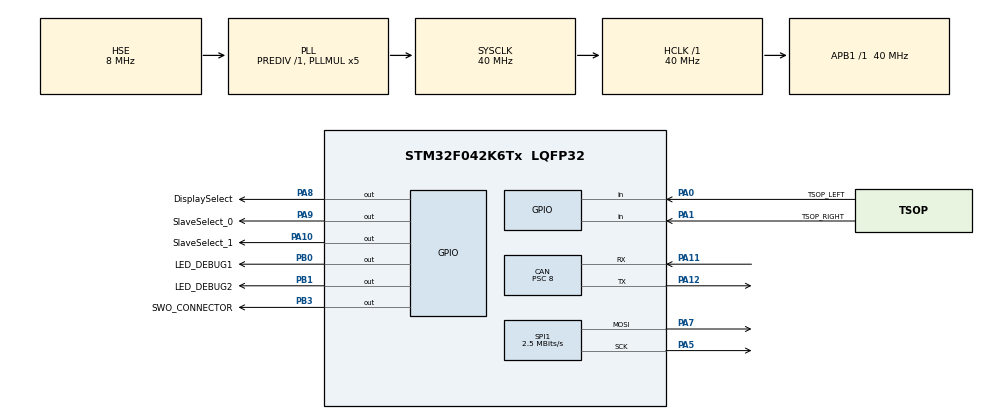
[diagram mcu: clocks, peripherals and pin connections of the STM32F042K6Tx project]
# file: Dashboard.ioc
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CAN.BS1=CAN_BS1_14TQ
CAN.BS2=CAN_BS2_5TQ
CAN.CalculateTimeBit=4000
CAN.CalculateTimeQuantum=200.0
CAN.Mode=CAN_MODE_NORMAL
CAN.Prescaler=8
CAN.SJW=CAN_SJW_3TQ
Mcu.Family=STM32F0
Mcu.Name=STM32F042K6Tx
Mcu.Package=LQFP32
NVIC.CEC_CAN_IRQn=true\:0\:0\:false\:false\:true\:true
PA0.GPIO_Label=TSOP_LEFT
PA0.GPIO_Mode=GPIO_MODE_INPUT
PA0.GPIO_PuPd=GPIO_PULLDOWN
PA0.Signal=GPIO_Input
PA1.GPIO_Label=TSOP_RIGHT
PA1.GPIO_Mode=GPIO_MODE_INPUT
PA1.GPIO_PuPd=GPIO_PULLDOWN
PA1.Signal=GPIO_Input
PA10.GPIO_FMA10=__NULL
PA10.GPIO_Label=SlaveSelect_1
PA10.GPIO_ModeDefaultOutputPP=GPIO_MODE_OUTPUT_PP
PA10.GPIO_PuPd=GPIO_PULLDOWN
PA10.GPIO_Speed=GPIO_SPEED_FREQ_MEDIUM
PA10.PinState=GPIO_PIN_RESET
PA10.Signal=GPIO_Output
PA11.GPIO_PuPd=GPIO_PULLDOWN
PA11.Mode=Master
PA11.Signal=CAN_RX
PA12.GPIO_PuPd=GPIO_PULLDOWN
PA12.GPIO_Speed=GPIO_SPEED_FREQ_HIGH
PA12.Mode=Master
PA12.Signal=CAN_TX
PA13.Mode=Serial_Wire
PA13.Signal=SYS_SWDIO
PA14.Mode=Serial_Wire
PA14.Signal=SYS_SWCLK
PA5.GPIO_Mode=GPIO_MODE_AF_PP
PA5.GPIO_PuPd=GPIO_PULLDOWN
PA5.GPIO_Speed=GPIO_SPEED_FREQ_MEDIUM
PA5.Mode=TX_Only_Simplex_Unidirect_Master
PA5.Signal=SPI1_SCK
PA7.GPIO_Mode=GPIO_MODE_AF_PP
PA7.GPIO_PuPd=GPIO_PULLDOWN
PA7.GPIO_Speed=GPIO_SPEED_FREQ_MEDIUM
PA7.Mode=TX_Only_Simplex_Unidirect_Master
PA7.Signal=SPI1_MOSI
PA8.GPIO_Label=DisplaySelect
PA8.GPIO_ModeDefaultOutputPP=GPIO_MODE_OUTPUT_PP
PA8.GPIO_PuPd=GPIO_PULLDOWN
PA8.GPIO_Speed=GPIO_SPEED_FREQ_MEDIUM
PA8.PinState=GPIO_PIN_RESET
PA8.Signal=GPIO_Output
PA9.GPIO_FMA9=__NULL
PA9.GPIO_Label=SlaveSelect_0
PA9.GPIO_ModeDefaultOutputPP=GPIO_MODE_OUTPUT_PP
PA9.GPIO_PuPd=GPIO_PULLDOWN
PA9.GPIO_Speed=GPIO_SPEED_FREQ_MEDIUM
PA9.PinState=GPIO_PIN_RESET
PA9.Signal=GPIO_Output
PB0.GPIO_Label=LED_DEBUG1
PB0.GPIO_ModeDefaultOutputPP=GPIO_MODE_OUTPUT_PP
PB0.GPIO_PuPd=GPIO_PULLDOWN
PB0.GPIO_Speed=GPIO_SPEED_FREQ_LOW
PB0.PinState=GPIO_PIN_RESET
PB0.Signal=GPIO_Output
PB1.GPIO_Label=LED_DEBUG2
PB1.GPIO_ModeDefaultOutputPP=GPIO_MODE_OUTPUT_PP
PB1.GPIO_PuPd=GPIO_PULLDOWN
PB1.GPIO_Speed=GPIO_SPEED_FREQ_LOW
PB1.PinState=GPIO_PIN_RESET
PB1.Signal=GPIO_Output
PB3.GPIO_Label=SWO_CONNECTOR
PB3.GPIO_ModeDefaultOutputPP=GPIO_MODE_OUTPUT_PP
PB3.GPIO_PuPd=GPIO_PULLDOWN
PB3.GPIO_Speed=GPIO_SPEED_FREQ_LOW
PB3.PinState=GPIO_PIN_RESET
PB3.Signal=GPIO_Output
PF0-OSC_IN.Mode=HSE-External-Oscillator
PF0-OSC_IN.Signal=RCC_OSC_IN
PF1-OSC_OUT.Mode=HSE-External-Oscillator
PF1-OSC_OUT.Signal=RCC_OSC_OUT
ProjectManager.HeapSize=0x200
ProjectManager.StackSize=0x400
ProjectManager.TargetToolchain=TrueSTUDIO
RCC.AHBFreq_Value=40000000
RCC.APB1Freq_Value=40000000
RCC.APB1TimFreq_Value=40000000
RCC.HCLKFreq_Value=40000000
RCC.PLLMUL=RCC_PLL_MUL5
RCC.PLLSourceVirtual=RCC_PLLSOURCE_HSE
RCC.SYSCLKFreq_VALUE=40000000
RCC.SYSCLKSource=RCC_SYSCLKSOURCE_PLLCLK
RTC.SynchPrediv=255
SPI1.BaudRatePrescaler=SPI_BAUDRATEPRESCALER_16
SPI1.CLKPhase=SPI_PHASE_2EDGE
SPI1.CLKPolarity=SPI_POLARITY_HIGH
SPI1.CRCCalculation=SPI_CRCCALCULATION_DISABLE
SPI1.CalculateBaudRate=2.5 MBits/s
SPI1.DataSize=SPI_DATASIZE_8BIT
SPI1.Direction=SPI_DIRECTION_2LINES
SPI1.Mode=SPI_MODE_MASTER
SPI1.VirtualType=VM_MASTER
VP_RTC_VS_RTC_Activate.Mode=RTC_Enabled
board=Dashboard

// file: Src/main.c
/**
  ******************************************************************************
  * File Name          : main.c
  * Description        : Main program body
  ******************************************************************************
  ** This notice applies to any and all portions of this file
  * that are not between comment pairs USER CODE BEGIN and
  * USER CODE END. Other portions of this file, whether
  * inserted by the user or by software development tools
  * are owned by their respective copyright owners.
  *
  * COPYRIGHT(c) 2017 STMicroelectronics
  *
  * Redistribution and use in source and binary forms, with or without modification,
  * are permitted provided that the following conditions are met:
  *   1. Redistributions of source code must retain the above copyright notice,
  *      this list of conditions and the following disclaimer.
  *   2. Redistributions in binary form must reproduce the above copyright notice,
  *      this list of conditions and the following disclaimer in the documentation
  *      and/or other materials provided with the distribution.
  *   3. Neither the name of STMicroelectronics nor the names of its contributors
  *      may be used to endorse or promote products derived from this software
  *      without specific prior written permission.
  *
  * THIS SOFTWARE IS PROVIDED BY THE COPYRIGHT HOLDERS AND CONTRIBUTORS "AS IS"
  * AND ANY EXPRESS OR IMPLIED WARRANTIES, INCLUDING, BUT NOT LIMITED TO, THE
  * IMPLIED WARRANTIES OF MERCHANTABILITY AND FITNESS FOR A PARTICULAR PURPOSE ARE
  * DISCLAIMED. IN NO EVENT SHALL THE COPYRIGHT HOLDER OR CONTRIBUTORS BE LIABLE
  * FOR ANY DIRECT, INDIRECT, INCIDENTAL, SPECIAL, EXEMPLARY, OR CONSEQUENTIAL
  * DAMAGES (INCLUDING, BUT NOT LIMITED TO, PROCUREMENT OF SUBSTITUTE GOODS OR
  * SERVICES; LOSS OF USE, DATA, OR PROFITS; OR BUSINESS INTERRUPTION) HOWEVER
  * CAUSED AND ON ANY THEORY OF LIABILITY, WHETHER IN CONTRACT, STRICT LIABILITY,
  * OR TORT (INCLUDING NEGLIGENCE OR OTHERWISE) ARISING IN ANY WAY OUT OF THE USE
  * OF THIS SOFTWARE, EVEN IF ADVISED OF THE POSSIBILITY OF SUCH DAMAGE.
  *
  ******************************************************************************
  */
#include "main.h"
#include "stm32f0xx_hal.h"
#include "can.h"
#include "rtc.h"
#include "spi.h"
#include "gpio.h"

/* USER CODE BEGIN Includes */
#include "string.h"
#include "ws2812_middleware.h"
#include "rpm_leds_driver.h"
#include "alert_leds_driver.h"
#include "fixed_point.h"
#include "gear_display_driver.h"
#include "actual_data_provider.h"
#include "can_receiver_driver.h"

/* USER CODE END Includes */

/* USER CODE BEGIN PV */
/* Private variables ---------------------------------------------------------*/

/* USER CODE END PV */

void SystemClock_Config(void);

/* USER CODE BEGIN PFP */
/* Private function prototypes -----------------------------------------------*/

// checks if time1 is less than time2 for no more than maxDiffSeconds seconds
uint8_t timeCompare(RTC_TimeTypeDef time1, RTC_TimeTypeDef time2, uint32_t maxDiffSeconds){

	  uint32_t time1Seconds = time1.Hours*60*60 + time1.Minutes*60 + time1.Seconds;
	  uint32_t time2Seconds = time2.Hours*60*60 + time2.Minutes*60 + time2.Seconds;

	  if (time1Seconds + maxDiffSeconds >= time2Seconds)
		  return 1;
	  else
		  return 0;
}

uint16_t startValues[] = {1001, 8501, 9001, 9501, 10001, 10501, 11001, 11501, 12001};
#define START_PROCEDURE_DELAY	15
#define START_VALUES_NUMBER		9

void startProcedure(){

	for(uint8_t i=0; i<START_VALUES_NUMBER; i++){
		RPMLeds_Driver_displayRPM(startValues[i]);
		GearDisplay_Driver_displayGear(0, 1);
		HAL_Delay(START_PROCEDURE_DELAY);
	}
	for (uint8_t i=START_VALUES_NUMBER; i>0; i--){
		RPMLeds_Driver_displayRPM(startValues[i-1]);
		GearDisplay_Driver_displayGear(0, 1);
		HAL_Delay(START_PROCEDURE_DELAY);
	}
}

/* USER CODE END PFP */

/* USER CODE BEGIN 0 */

volatile RTC_TimeTypeDef actualTime;
volatile RTC_DateTypeDef dummyDate;

/* USER CODE END 0 */

int main(void)
{

  /* MCU Configuration----------------------------------------------------------*/

  /* Reset of all peripherals, Initializes the Flash interface and the Systick. */
  HAL_Init();

  /* Configure the system clock */
  SystemClock_Config();

  /* USER CODE BEGIN SysInit */

  HAL_Delay(100);

  /* USER CODE END SysInit */

  /* Initialize all configured peripherals */
  MX_GPIO_Init();
  MX_CAN_Init();
  MX_SPI1_Init();
  MX_RTC_Init();

  /* USER CODE BEGIN 2 */
  HAL_GPIO_TogglePin(LED_DEBUG2_GPIO_Port, LED_DEBUG2_Pin);

  WS2812_Middleware_init();

  AlertLeds_Driver_init();
  RPMLeds_Driver_init();

  GearDisplay_Driver_init();

  ActualDataProvider_init();
  actualTime.Hours = 0;
  actualTime.Minutes = 1;	//for good timeCompare with not delivered yet data
  actualTime.Seconds = 0;
  actualTime.TimeFormat = RTC_HOURFORMAT12_AM;
  actualTime.SubSeconds = 0;
  actualTime.DayLightSaving = RTC_DAYLIGHTSAVING_NONE;

  HAL_RTC_SetTime(&hrtc, (RTC_TimeTypeDef*)&actualTime, RTC_FORMAT_BIN);

  startProcedure();
//  RPMLeds_Driver_displayRPM(12500);
//  GearDisplay_Driver_displayGear(5, 1);
//  AlertLeds_Driver_displayCLT(((FixedPoint){163840, 12}));
//  AlertLeds_Driver_displayBatt(((FixedPoint){40960, 12}));
//  AlertLeds_Driver_displayOilPres(((FixedPoint){8190, 12}));
//  AlertLeds_Driver_displayFuel(((FixedPoint){61430, 12}));
//
//  while (1){
//	  RPMLeds_Driver_displayRPM(12500);
//	  GearDisplay_Driver_displayGear(5, 1);
//	  HAL_Delay(500);
//	  AlertLeds_Driver_displayCLT(((FixedPoint){163840, 12}));
//	  AlertLeds_Driver_displayBatt(((FixedPoint){40960, 12}));
//	  AlertLeds_Driver_displayOilPres(((FixedPoint){8190, 12}));
//	  AlertLeds_Driver_displayFuel(((FixedPoint){61430, 12}));
//	  HAL_Delay(500);
//  }

  /* USER CODE END 2 */

  /* Infinite loop */
  while (1)
  {

  /* USER CODE BEGIN 3 */
//	  while (1){ //TODO Debug
//		  GPIO_PinState tsopState = HAL_GPIO_ReadPin(TSOP_RIGHT_GPIO_Port, TSOP_LEFT_Pin);
//
//		  uint8_t a;
//
//		  if (tsopState == GPIO_PIN_RESET)
//			  a = 1;
//		  else
//			  a = 0;
//	  }

	  HAL_RTC_GetTime(&hrtc, (RTC_TimeTypeDef*)&actualTime, RTC_FORMAT_BIN);
	  HAL_RTC_GetDate(&hrtc, (RTC_DateTypeDef*)&dummyDate, RTC_FORMAT_BIN);

	  ActualDataProvider_thread();

	  if (timeCompare(ActualDataProvider_getDataArrivalTime(RPM_DATA_CHANNEL), actualTime, CHANNEL_TIMEOUT) == 1){
//		  assuming no divider, multiplier, offset
		  RPMLeds_Driver_displayRPM(ActualDataProvider_getValue(RPM_DATA_CHANNEL));
	  } else {
		  RPMLeds_Driver_offDisplay();
	  }

	  if (timeCompare(ActualDataProvider_getDataArrivalTime(GEAR_DATA_CHANNEL), actualTime, CHANNEL_TIMEOUT) == 1){
//		  assuming no divider, multiplier, offset
		  GearDisplay_Driver_displayGear(ActualDataProvider_getValue(GEAR_DATA_CHANNEL), ActualDataProvider_getValue(GEAR_DATA_CHANNEL)==0);
	  } else {
		  GearDisplay_Driver_offDisplay();
	  }

	  if (timeCompare(ActualDataProvider_getDataArrivalTime(CLT_DATA_CHANNEL), actualTime, CHANNEL_TIMEOUT) == 1){
		  AlertLeds_Driver_displayCLT(FixedPoint_constr(
				  (int16_t)ActualDataProvider_getValue(CLT_DATA_CHANNEL),
				  ActualDataProvider_getDivider(CLT_DATA_CHANNEL),
				  ActualDataProvider_getMultiplier(CLT_DATA_CHANNEL),
				  ActualDataProvider_getOffset(CLT_DATA_CHANNEL),
				  FRACTIONAL_BITS_NUMBER));
	  } else {
		  AlertLeds_Driver_offCLT();
	  }

	  if (timeCompare(ActualDataProvider_getDataArrivalTime(BATT_VOLTAGE_DATA_CHANNEL), actualTime, CHANNEL_TIMEOUT) == 1){
		  AlertLeds_Driver_displayBatt(FixedPoint_constr(
				  ActualDataProvider_getValue(BATT_VOLTAGE_DATA_CHANNEL),
				  ActualDataProvider_getDivider(BATT_VOLTAGE_DATA_CHANNEL),
				  ActualDataProvider_getMultiplier(BATT_VOLTAGE_DATA_CHANNEL),
				  ActualDataProvider_getOffset(BATT_VOLTAGE_DATA_CHANNEL),
				  FRACTIONAL_BITS_NUMBER));
	  } else {
		  AlertLeds_Driver_offBatt();
	  }

	  if (timeCompare(ActualDataProvider_getDataArrivalTime(FUEL_LEVEL_DATA_CHANNEL), actualTime, CHANNEL_TIMEOUT) == 1){
		  AlertLeds_Driver_displayFuel(FixedPoint_constr(
				  ActualDataProvider_getValue(FUEL_LEVEL_DATA_CHANNEL),
				  ActualDataProvider_getDivider(FUEL_LEVEL_DATA_CHANNEL),
				  ActualDataProvider_getMultiplier(FUEL_LEVEL_DATA_CHANNEL),
				  ActualDataProvider_getOffset(FUEL_LEVEL_DATA_CHANNEL),
				  FRACTIONAL_BITS_NUMBER));
	  } else {
		  AlertLeds_Driver_offFuel();
	  }

	  if (timeCompare(ActualDataProvider_getDataArrivalTime(OIL_PRESSURE_DATA_CHANNEL), actualTime, CHANNEL_TIMEOUT) == 1){
		  AlertLeds_Driver_displayOilPres(FixedPoint_constr(
				  ActualDataProvider_getValue(OIL_PRESSURE_DATA_CHANNEL),
				  ActualDataProvider_getDivider(OIL_PRESSURE_DATA_CHANNEL),
				  ActualDataProvider_getMultiplier(OIL_PRESSURE_DATA_CHANNEL),
				  ActualDataProvider_getOffset(OIL_PRESSURE_DATA_CHANNEL),
				  FRACTIONAL_BITS_NUMBER));
	  } else {
		  AlertLeds_Driver_offOilPres();
	  }

	  HAL_Delay(50);

  }
  /* USER CODE END 3 */

}

/** System Clock Configuration
*/
void SystemClock_Config(void)
{

  RCC_OscInitTypeDef RCC_OscInitStruct;
  RCC_ClkInitTypeDef RCC_ClkInitStruct;
  RCC_PeriphCLKInitTypeDef PeriphClkInit;

    /**Initializes the CPU, AHB and APB busses clocks
    */
  RCC_OscInitStruct.OscillatorType = RCC_OSCILLATORTYPE_LSI|RCC_OSCILLATORTYPE_HSE;
  RCC_OscInitStruct.HSEState = RCC_HSE_ON;
  RCC_OscInitStruct.HSIState = RCC_HSI_ON;
  RCC_OscInitStruct.LSIState = RCC_LSI_ON;
  RCC_OscInitStruct.PLL.PLLState = RCC_PLL_ON;
  RCC_OscInitStruct.PLL.PLLSource = RCC_PLLSOURCE_HSE;
  RCC_OscInitStruct.PLL.PLLMUL = RCC_PLL_MUL5;
  RCC_OscInitStruct.PLL.PREDIV = RCC_PREDIV_DIV1;
  if (HAL_RCC_OscConfig(&RCC_OscInitStruct) != HAL_OK)
  {
    _Error_Handler(__FILE__, __LINE__);
  }

    /**Initializes the CPU, AHB and APB busses clocks
    */
  RCC_ClkInitStruct.ClockType = RCC_CLOCKTYPE_HCLK|RCC_CLOCKTYPE_SYSCLK
                              |RCC_CLOCKTYPE_PCLK1;
  RCC_ClkInitStruct.SYSCLKSource = RCC_SYSCLKSOURCE_PLLCLK;
  RCC_ClkInitStruct.AHBCLKDivider = RCC_SYSCLK_DIV1;
  RCC_ClkInitStruct.APB1CLKDivider = RCC_HCLK_DIV1;

  if (HAL_RCC_ClockConfig(&RCC_ClkInitStruct, FLASH_LATENCY_1) != HAL_OK)
  {
    _Error_Handler(__FILE__, __LINE__);
  }

  PeriphClkInit.PeriphClockSelection = RCC_PERIPHCLK_RTC;
  PeriphClkInit.RTCClockSelection = RCC_RTCCLKSOURCE_LSI;
  if (HAL_RCCEx_PeriphCLKConfig(&PeriphClkInit) != HAL_OK)
  {
    _Error_Handler(__FILE__, __LINE__);
  }

    /**Configure the Systick interrupt time
    */
  HAL_SYSTICK_Config(HAL_RCC_GetHCLKFreq()/1000);

    /**Configure the Systick
    */
  HAL_SYSTICK_CLKSourceConfig(SYSTICK_CLKSOURCE_HCLK);

  /* SysTick_IRQn interrupt configuration */
  HAL_NVIC_SetPriority(SysTick_IRQn, 0, 0);
}

/* USER CODE BEGIN 4 */

void _Warning_Handler(char * file, int line)
{
	//TODO implementation
}

/* USER CODE END 4 */

void _Error_Handler(char * file, int line)
{
  while(1)
  {
  }
}

/************************ (C) COPYRIGHT STMicroelectronics *****END OF FILE****/
